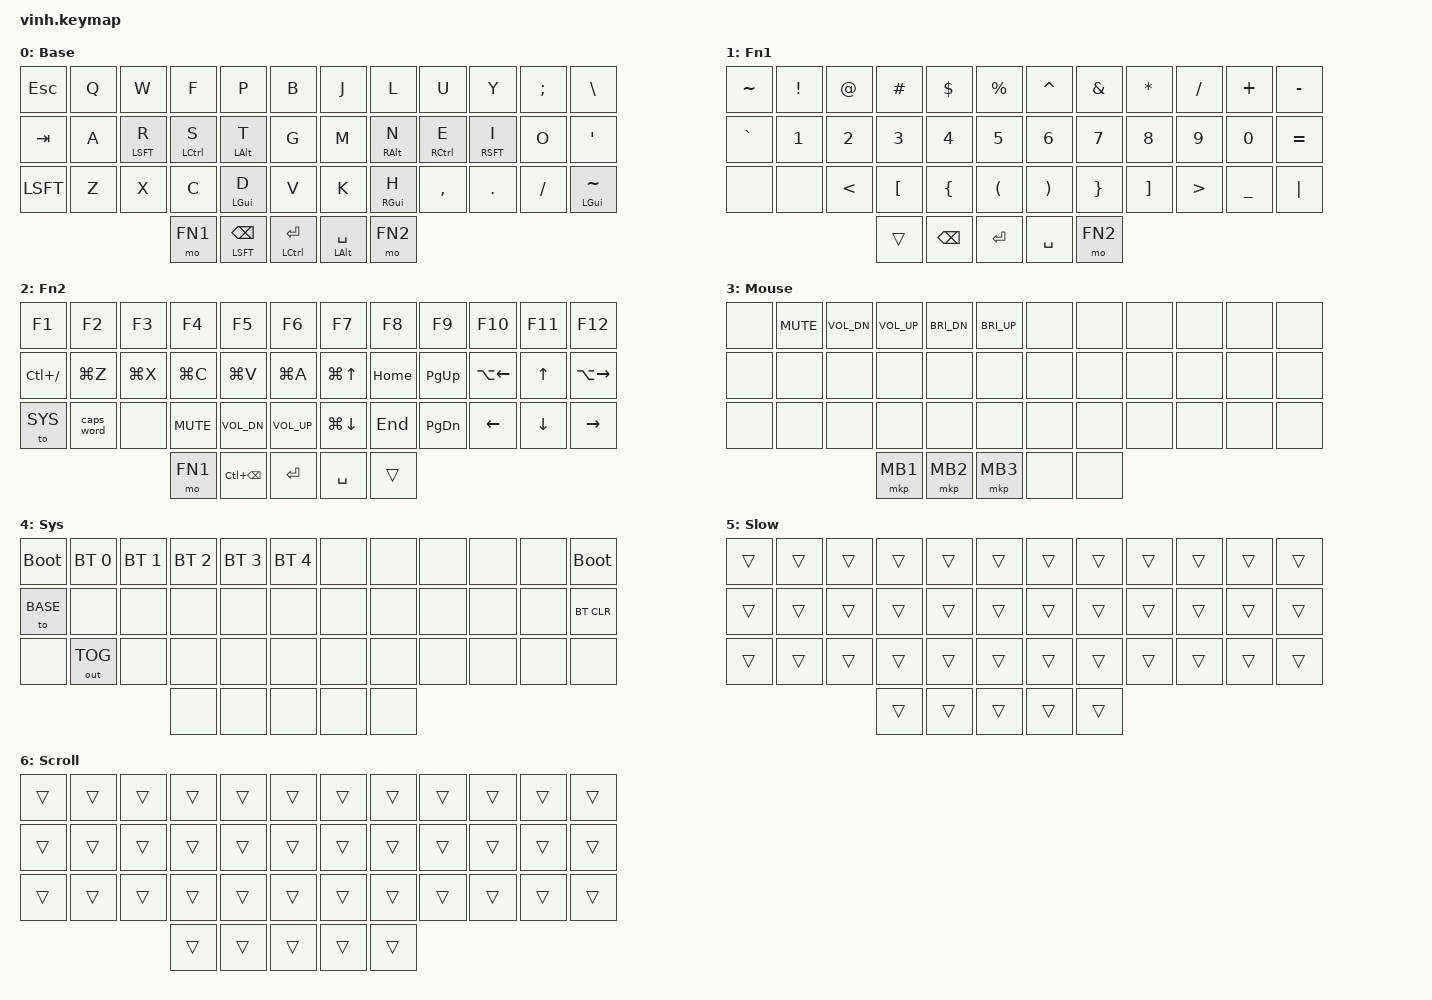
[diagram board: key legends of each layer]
/* Charybdis Mini — Colemak-DH matching Silakka54
 * 5 layers: Base, Fn1 (symbols), Fn2 (nav+scroll), Mouse (auto), System
 * urob-style timeless HRM: r⇧ s⌃ t⌥ d⌘ · n⌥ e⌃ i⇧ h⌘
 */

#include <behaviors.dtsi>
#include <dt-bindings/zmk/keys.h>
#include <dt-bindings/zmk/bt.h>
#include <dt-bindings/zmk/mouse.h>
#include <dt-bindings/zmk/outputs.h>
#include <behaviors/mouse_keys.dtsi>
#include <dt-bindings/zmk/ext_power.h>

// Key positions:
//  0  1  2  3  4  5       6  7  8  9 10 11
// 12 13 14 15 16 17      18 19 20 21 22 23
// 24 25 26 27 28 29      30 31 32 33 34 35
//             36 37 38   39 40

#define KEYS_L 0 1 2 3 4 5 12 13 14 15 16 17 24 25 26 27 28 29
#define KEYS_R 6 7 8 9 10 11 18 19 20 21 22 23 30 31 32 33 34 35
#define THUMBS 36 37 38 39 40

#define BASE  0
#define FN1   1
#define FN2   2
#define MOUSE 3
#define SYS   4
#define SLOW  5
#define SCROLL 6

/ {
    behaviors {
        // Left-hand HRM (urob timeless: 280ms, 175ms quick-tap, 500ms prior-idle)
        hml: homerow_left {
            compatible = "zmk,behavior-hold-tap";
            #binding-cells = <2>;
            flavor = "balanced";
            tapping-term-ms = <280>;
            quick-tap-ms = <175>;
            require-prior-idle-ms = <500>;
            bindings = <&kp>, <&kp>;
            hold-trigger-key-positions = <KEYS_R THUMBS>;
            hold-trigger-on-release;
        };

        // Right-hand HRM
        hmr: homerow_right {
            compatible = "zmk,behavior-hold-tap";
            #binding-cells = <2>;
            flavor = "balanced";
            tapping-term-ms = <280>;
            quick-tap-ms = <175>;
            require-prior-idle-ms = <500>;
            bindings = <&kp>, <&kp>;
            hold-trigger-key-positions = <KEYS_L THUMBS>;
            hold-trigger-on-release;
        };
    };

    combos {
        compatible = "zmk,combos";

        // ESC and TAB (backup — Charybdis has dedicated keys)
        combo_esc     { timeout-ms = <45>; key-positions = <1  2>;  bindings = <&kp ESC>;       layers = <BASE>; };
        combo_tab     { timeout-ms = <45>; key-positions = <1  13>; bindings = <&kp TAB>;       layers = <BASE>; };

        // Bracket pairs — cursor inside
        combo_parens  { timeout-ms = <45>; key-positions = <2  3>;  bindings = <&m_parens>;     layers = <BASE>; };
        combo_braces  { timeout-ms = <45>; key-positions = <3  4>;  bindings = <&m_braces>;     layers = <BASE>; };
        combo_brackets{ timeout-ms = <45>; key-positions = <8  9>;  bindings = <&m_brackets>;   layers = <BASE>; };
        combo_angles  { timeout-ms = <45>; key-positions = <7  8>;  bindings = <&m_angles>;     layers = <BASE>; };

        // Operators
        combo_neq     { timeout-ms = <45>; key-positions = <26 27>; bindings = <&m_neq>;        layers = <BASE>; };
        combo_eq      { timeout-ms = <45>; key-positions = <27 28>; bindings = <&m_eq>;         layers = <BASE>; };
        combo_arrow   { timeout-ms = <45>; key-positions = <28 29>; bindings = <&m_arrow>;      layers = <BASE>; };
        combo_walrus  { timeout-ms = <45>; key-positions = <30 31>; bindings = <&m_walrus>;     layers = <BASE>; };
        combo_dslash  { timeout-ms = <60>; key-positions = <21 22>; bindings = <&m_dslash>;     layers = <BASE>; };
        combo_pipe    { timeout-ms = <45>; key-positions = <9  10>; bindings = <&kp PIPE>;      layers = <BASE>; };
        combo_dquot   { timeout-ms = <45>; key-positions = <25 26>; bindings = <&m_dquot>;      layers = <BASE>; };

        // CapsWord: g+m (positions 17+18, inner columns)
        combo_capsword { timeout-ms = <45>; key-positions = <17 18>; bindings = <&caps_word>;   layers = <BASE>; };
    };

    macros {
        m_parens:   m_parens   { compatible = "zmk,behavior-macro"; #binding-cells = <0>; bindings = <&kp LPAR  &kp RPAR  &kp LEFT>; };
        m_braces:   m_braces   { compatible = "zmk,behavior-macro"; #binding-cells = <0>; bindings = <&kp LBRC  &kp RBRC  &kp LEFT>; };
        m_brackets: m_brackets { compatible = "zmk,behavior-macro"; #binding-cells = <0>; bindings = <&kp LBKT  &kp RBKT  &kp LEFT>; };
        m_angles:   m_angles   { compatible = "zmk,behavior-macro"; #binding-cells = <0>; bindings = <&kp LT    &kp GT    &kp LEFT>; };
        m_neq:      m_neq      { compatible = "zmk,behavior-macro"; #binding-cells = <0>; bindings = <&kp EXCL  &kp EQUAL>;           };
        m_eq:       m_eq       { compatible = "zmk,behavior-macro"; #binding-cells = <0>; bindings = <&kp EQUAL &kp EQUAL>;           };
        m_arrow:    m_arrow    { compatible = "zmk,behavior-macro"; #binding-cells = <0>; bindings = <&kp MINUS &kp GT>;              };
        m_walrus:   m_walrus   { compatible = "zmk,behavior-macro"; #binding-cells = <0>; bindings = <&kp COLON &kp EQUAL>;           };
        m_dslash:   m_dslash   { compatible = "zmk,behavior-macro"; #binding-cells = <0>; bindings = <&kp FSLH  &kp FSLH>;            };
        m_dquot:    m_dquot    { compatible = "zmk,behavior-macro"; #binding-cells = <0>; bindings = <&kp DQT   &kp DQT   &kp LEFT>; };
    };

    keymap {
        compatible = "zmk,keymap";

        // ── Layer 0: Base (Colemak-DH) ──────────────────────────────
        BASE {
            display-name = "Base";
            bindings = <
// ╭────────┬────────┬────────┬────────┬────────┬────────╮   ╭────────┬────────┬────────┬────────┬────────┬────────╮
    &kp ESC  &kp Q    &kp W    &kp F    &kp P    &kp B        &kp J    &kp L    &kp U    &kp Y    &kp SEMI &kp BSLH
// ├────────┼────────┼────────┼────────┼────────┼────────┤   ├────────┼────────┼────────┼────────┼────────┼────────┤
    &kp TAB  &kp A    &hml LSFT R &hml LCTL S &hml LALT T &kp G  &kp M  &hmr RALT N &hmr RCTL E &hmr RSFT I &kp O &kp SQT
// ├────────┼────────┼────────┼────────┼────────┼────────┤   ├────────┼────────┼────────┼────────┼────────┼────────┤
    &kp LSFT &kp Z    &kp X    &kp C    &hml LGUI D &kp V    &kp K    &hmr RGUI H &kp COMMA &kp DOT &kp FSLH &mt LGUI TILDE
// ╰────────┴────────┴────────┼────────┼────────┼────────┤   ├────────┼────────┤
                               &mo FN1  &mt LSFT BSPC &mt LCTL RET  &mt LALT SPC &mo FN2
//                            ╰────────┴────────┴────────╯   ╰────────┴────────╯
            >;
        };

        // ── Layer 1: Fn1 — Symbols & Numbers ────────────────────────
        FN1 {
            display-name = "Fn1";
            bindings = <
    &kp TILDE &kp EXCL &kp AT   &kp HASH &kp DLLR &kp PRCNT    &kp CARET &kp AMPS &kp ASTRK &kp FSLH &kp PLUS &kp MINUS
    &kp GRAVE &kp N1   &kp N2   &kp N3   &kp N4   &kp N5        &kp N6   &kp N7   &kp N8    &kp N9   &kp N0   &kp EQUAL
    &none     &none    &kp LT   &kp LBKT &kp LBRC &kp LPAR      &kp RPAR &kp RBRC &kp RBKT  &kp GT   &kp UNDER &kp PIPE
                                &trans   &kp BSPC &kp RET        &kp SPC  &mo FN2
            >;
        };

        // ── Layer 2: Fn2 — Nav & Media (trackball → scroll) ────────
        FN2 {
            display-name = "Fn2";
            bindings = <
    &kp F1       &kp F2    &kp F3    &kp F4    &kp F5    &kp F6       &kp F7      &kp F8   &kp F9    &kp F10      &kp F11 &kp F12
    &kp LC(FSLH) &kp LG(Z) &kp LG(X) &kp LG(C) &kp LG(V) &kp LG(A)  &kp LG(UP)  &kp HOME &kp PG_UP &kp LA(LEFT) &kp UP  &kp LA(RIGHT)
    &to SYS      &caps_word &none    &kp C_MUTE &kp C_VOL_DN &kp C_VOL_UP  &kp LG(DOWN) &kp END &kp PG_DN &kp LEFT &kp DOWN &kp RIGHT
                                     &mo FN1   &kp LC(BSPC) &kp RET    &kp SPC    &trans
            >;
        };

        // ── Layer 3: Mouse (auto-activates on trackball movement) ───
        MOUSE {
            display-name = "Mouse";
            bindings = <
    &none  &kp C_MUTE &kp C_VOL_DN &kp C_VOL_UP &kp C_BRI_DN &kp C_BRI_UP  &none &none &none &none &none &none
    &none  &none      &none        &none         &none         &none          &none &none &none &none &none &none
    &none  &none      &none        &none         &none         &none          &none &none &none &none &none &none
                                   &mkp MB1      &mkp MB2      &mkp MB3       &none &none
            >;
        };

        // ── Layer 4: System (BT, bootloader) ────────────────────────
        SYS {
            display-name = "Sys";
            bindings = <
    &bootloader  &bt BT_SEL 0 &bt BT_SEL 1 &bt BT_SEL 2 &bt BT_SEL 3 &bt BT_SEL 4  &none &none &none &none &none &bootloader
    &to BASE     &none        &none         &none         &none         &none           &none &none &none &none &none &bt BT_CLR
    &none        &out OUT_TOG &none         &none         &none         &none           &none &none &none &none &none &none
                                            &none         &none         &none           &none &none
            >;
        };

        // ── Layer 5: Slow (transparent passthrough) ─────────────────
        SLOW {
            display-name = "Slow";
            bindings = <
    &trans &trans &trans &trans &trans &trans    &trans &trans &trans &trans &trans &trans
    &trans &trans &trans &trans &trans &trans    &trans &trans &trans &trans &trans &trans
    &trans &trans &trans &trans &trans &trans    &trans &trans &trans &trans &trans &trans
                         &trans &trans &trans    &trans &trans
            >;
        };

        // ── Layer 6: Scroll (transparent passthrough) ───────────────
        SCROLL {
            display-name = "Scroll";
            bindings = <
    &trans &trans &trans &trans &trans &trans    &trans &trans &trans &trans &trans &trans
    &trans &trans &trans &trans &trans &trans    &trans &trans &trans &trans &trans &trans
    &trans &trans &trans &trans &trans &trans    &trans &trans &trans &trans &trans &trans
                         &trans &trans &trans    &trans &trans
            >;
        };
    };
};
